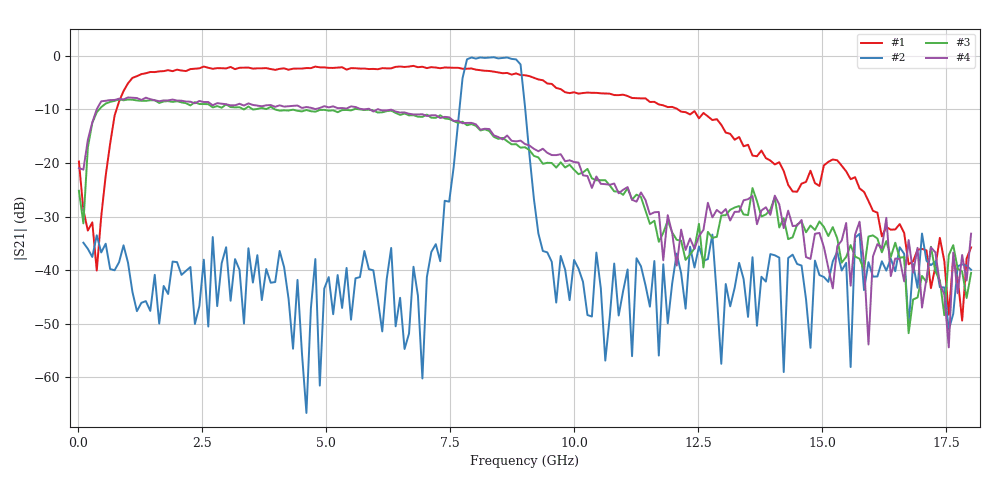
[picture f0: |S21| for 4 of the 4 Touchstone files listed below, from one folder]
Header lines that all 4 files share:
!Agilent Technologies,E8363B,SG43030126,A.07.50.67
!Agilent E8363B: A.07.50.67
!Correction: S11(Full 2 Port(1,2))
!S21(Full 2 Port(1,2))
!S12(Full 2 Port(1,2))
!S22(Full 2 Port(1,2))
!S2P File: Measurements: S11, S21, S12, S22:
# Hz S  dB  R 50
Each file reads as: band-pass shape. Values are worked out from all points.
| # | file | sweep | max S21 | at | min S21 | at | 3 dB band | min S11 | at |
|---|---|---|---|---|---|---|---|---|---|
| 1 | ALS-04-0149 30dB Output Attenuator.s2p | 10 MHz to 18 GHz | -1.86 dB | 6.756 GHz | -49.4 dB | 17.82 GHz | 1.089 GHz-9.365 GHz | -24.5 dB | 5.677 GHz |
| 2 | Unmarked Bandpass Filter.s2p | 99.95 MHz to 18 GHz | -0.25 dB | 8.375 GHz | -66.7 dB | 4.597 GHz | 7.836 GHz-8.915 GHz | -36.4 dB | 8.555 GHz |
| 3 | ZX60-83LN-S+ (A), 30dB Output Attenuator.s2p | 10 MHz to 18 GHz | -8.10 dB | 819.5 MHz | -51.8 dB | 16.74 GHz | 369.8 MHz-6.756 GHz | -16.4 dB | 1.089 GHz |
| 4 | ZX60-83LN-S+ (B), 30dB Output Attenuator.s2p | 10 MHz to 18 GHz | -7.75 dB | 999.5 MHz | -54.4 dB | 17.55 GHz | 369.8 MHz-6.576 GHz | -22.5 dB | 1.089 GHz |
